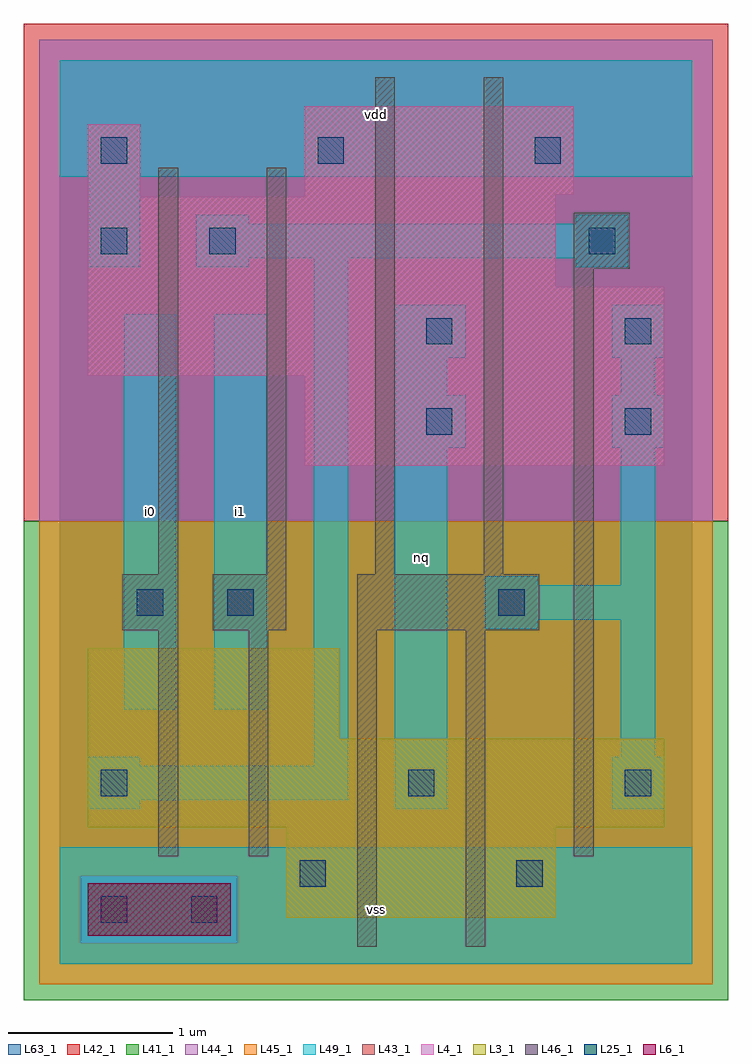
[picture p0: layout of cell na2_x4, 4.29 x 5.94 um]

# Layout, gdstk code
import gdstk
lib = gdstk.Library(unit=1e-6, precision=1e-09)
def R(c, l, rs):  # rectangles x0, y0, x1, y1
    for r in rs: c.add(gdstk.rectangle(r[:2], r[2:], *l))
def A(c, l, x, y, w, h, nx, ny, dx, dy):  # array of equal rectangles
    R(c, l, [(x+i*dx, y+j*dy, x+i*dx+w, y+j*dy+h) for i in range(nx) for j in range(ny)])
L3_1 = (3, 1)
L4_1 = (4, 1)
L6_1 = (6, 1)
L25_1 = (25, 1)
L41_1 = (41, 1)
L42_1 = (42, 1)
L43_1 = (43, 1)
L44_1 = (44, 1)
L45_1 = (45, 1)
L46_1 = (46, 1)
L49_1 = (49, 1)
L63_1 = (63, 1)

na2_x4 = lib.new_cell('na2_x4')
R(na2_x4, L3_1, [(1.38,0.28,3.02,0.83), (0.17,0.83,3.68,1.37), (0.17,1.37,1.7,1.92)])
R(na2_x4, L4_1, [(1.49,3.03,3.68,3.58), (0.17,3.58,3.68,4.12), (0.17,4.12,3.02,4.67), (0.17,4.67,0.49,5.11), (1.49,4.67,3.02,4.68), (1.49,4.68,3.13,5.22)])
R(na2_x4, L6_1, [(0.17,0.17,1.04,0.49)])
A(na2_x4, L25_1, 0.25, 4.87, 0.16, 0.16, 3, 1, 1.32, 0)
R(na2_x4, L25_1, [(0.25,0.25,0.41,0.41), (0.8,0.25,0.96,0.41), (1.46,0.47,1.62,0.63), (2.78,0.47,2.94,0.63), (0.25,1.02,0.41,1.18), (2.12,1.02,2.28,1.18), (3.44,1.02,3.6,1.18), (0.47,2.12,0.63,2.28), (1.02,2.12,1.18,2.28), (2.67,2.12,2.83,2.28), (2.23,3.22,2.39,3.38), (3.44,3.22,3.6,3.38), (2.23,3.77,2.39,3.93), (3.44,3.77,3.6,3.93), (0.25,4.32,0.41,4.48), (0.91,4.32,1.07,4.48), (3.22,4.32,3.38,4.48)])
R(na2_x4, L41_1, [(-0.22,-0.22,4.07,2.695)])
R(na2_x4, L42_1, [(-0.22,2.695,4.07,5.72)])
R(na2_x4, L43_1, [(0.17,0.17,1.04,0.49), (1.38,0.28,3.02,0.83), (0.17,0.83,3.68,1.37), (0.17,1.37,1.7,1.92), (1.49,3.03,3.68,3.58), (0.17,3.58,3.68,4.12), (0.17,4.12,3.02,4.67), (0.17,4.67,0.49,5.11), (1.49,4.67,3.02,4.68), (1.49,4.68,3.13,5.22)])
R(na2_x4, L44_1, [(0.125,0.125,1.085,0.535), (-0.125,2.695,3.975,5.625)])
R(na2_x4, L45_1, [(-0.125,-0.125,3.975,0.125), (-0.125,0.125,0.125,0.535), (1.085,0.125,3.975,0.535), (-0.125,0.535,3.975,2.695)])
R(na2_x4, L46_1, [(1.81,0.105,1.93,2.03), (2.47,0.105,2.59,2.03), (0.6,0.655,0.72,2.03), (1.15,0.655,1.27,2.03), (3.13,0.655,3.25,4.23), (0.38,2.03,0.72,2.37), (0.93,2.03,1.38,2.37), (1.81,2.03,2.92,2.37), (0.6,2.37,0.72,4.845), (1.26,2.37,1.38,4.845), (1.92,2.37,2.04,5.395), (2.58,2.37,2.7,5.395), (3.13,4.23,3.47,4.57)])
R(na2_x4, L49_1, [(0,0,3.85,0.71), (0.17,0.94,0.49,0.995), (2.04,0.94,2.36,3.14), (3.36,0.94,3.68,1.26), (0.17,0.995,1.755,1.205), (0.17,1.205,0.49,1.26), (1.545,1.205,1.755,4.295), (3.415,1.26,3.625,2.095), (0.39,1.545,0.71,3.955), (0.94,1.545,1.26,3.955), (2.59,2.04,2.91,2.095), (2.59,2.095,3.625,2.305), (2.59,2.305,2.91,2.36), (3.415,2.305,3.625,3.14), (2.04,3.14,2.47,3.46), (3.36,3.14,3.68,3.46), (2.04,3.46,2.36,3.69), (3.415,3.46,3.625,3.69), (2.04,3.69,2.47,4.01), (3.36,3.69,3.68,4.01), (0.17,4.24,0.49,4.79), (0.83,4.24,1.15,4.295), (3.14,4.24,3.46,4.295), (0.83,4.295,3.46,4.505), (0.83,4.505,1.15,4.56), (3.14,4.505,3.46,4.56), (0,4.79,3.85,5.5)])
R(na2_x4, L63_1, [(0,0,3.85,5.5)])
na2_x4.add(gdstk.Label('i0', (0.55,2.75), layer=49, texttype=1))
na2_x4.add(gdstk.Label('i0', (0.55,2.75), layer=49, texttype=1))
na2_x4.add(gdstk.Label('i1', (1.1,2.75), layer=49, texttype=1))
na2_x4.add(gdstk.Label('i1', (1.1,2.75), layer=49, texttype=1))
na2_x4.add(gdstk.Label('vss', (1.925,0.33), layer=49, texttype=1))
na2_x4.add(gdstk.Label('vss', (1.925,0.33), layer=49, texttype=1))
na2_x4.add(gdstk.Label('nq', (2.2,2.475), layer=49, texttype=1))
na2_x4.add(gdstk.Label('nq', (2.2,2.475), layer=49, texttype=1))
na2_x4.add(gdstk.Label('vdd', (1.925,5.17), layer=49, texttype=1))
na2_x4.add(gdstk.Label('vdd', (1.925,5.17), layer=49, texttype=1))

lib.write_gds('na2_x4.gds')
